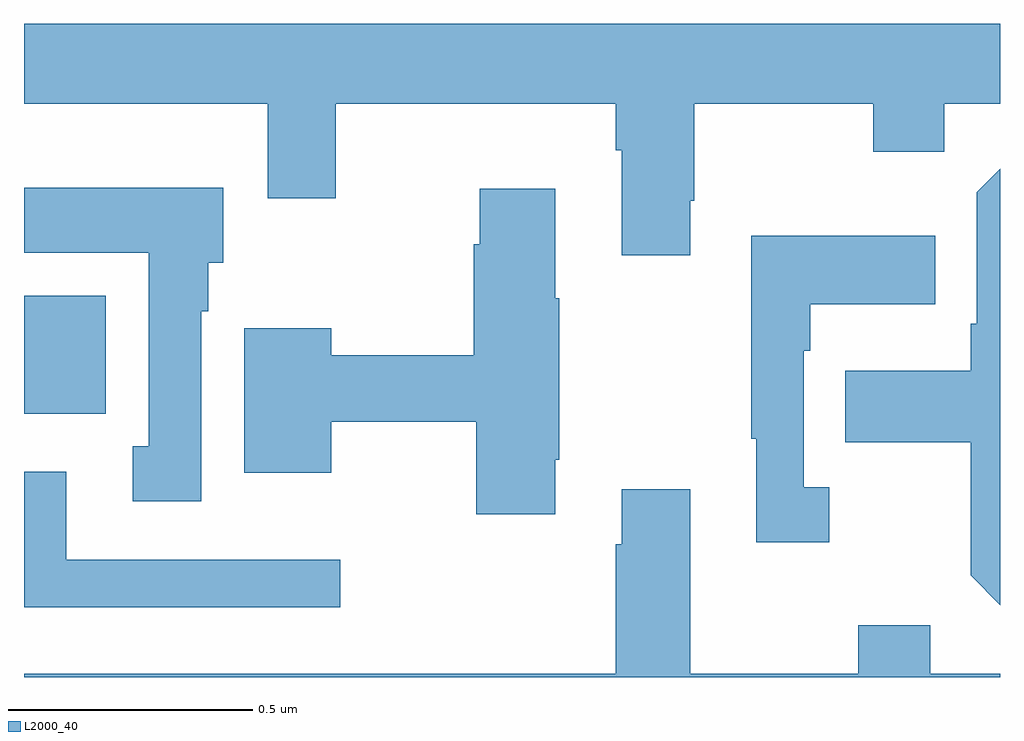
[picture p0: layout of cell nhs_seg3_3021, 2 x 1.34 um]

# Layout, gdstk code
import gdstk
lib = gdstk.Library(unit=1e-6, precision=1e-09)
def R(c, l, rs):  # rectangles x0, y0, x1, y1
    for r in rs: c.add(gdstk.rectangle(r[:2], r[2:], *l))
def P(c, l, *ps):  # polygons
    for p in ps: c.add(gdstk.Polygon(p, *l))
L2000_40 = (2000, 40)

nhs_seg3_3021 = lib.new_cell('nhs_seg3_3021')
R(nhs_seg3_3021, L2000_40, [(148,706.94,148.168,707.182)])
P(nhs_seg3_3021, L2000_40, [(149.365,707.377),(149.373,707.377),(149.373,707.576),(149.74,707.576),(149.74,707.477),(149.886,707.477),(149.886,707.576),(150,707.576),(150,707.74),(148,707.74),(148,707.576),(148.499,707.576),(148.499,707.382),(148.639,707.382),(148.639,707.576),(149.213,707.576),(149.213,707.48),(149.225,707.48),(149.225,707.265),(149.365,707.265)],
  [(150,707.442),(149.952,707.394),(149.952,707.125),(149.94,707.125),(149.94,707.029),(149.683,707.029),(149.683,706.882),(149.94,706.882),(149.94,706.609),(150,706.548)],
  [(148.363,707.15),(148.378,707.15),(148.378,707.25),(148.408,707.25),(148.408,707.404),(148,707.404),(148,707.27),(148.256,707.27),(148.256,706.874),(148.223,706.874),(148.223,706.761),(148.363,706.761)],
  [(149.089,706.846),(149.097,706.846),(149.097,707.177),(149.089,707.177),(149.089,707.401),(148.934,707.401),(148.934,707.288),(148.922,707.288),(148.922,707.06),(148.63,707.06),(148.63,707.116),(148.451,707.116),(148.451,706.82),(148.63,706.82),(148.63,706.924),(148.927,706.924),(148.927,706.734),(149.089,706.734)],
  [(149.65,706.79),(149.598,706.79),(149.598,707.069),(149.611,707.069),(149.611,707.165),(149.867,707.165),(149.867,707.305),(149.49,707.305),(149.49,706.889),(149.501,706.889),(149.501,706.677),(149.65,706.677)],
  [(148.648,706.641),(148.087,706.641),(148.087,706.822),(148,706.822),(148,706.544),(148.648,706.544)],
  [(150,706.408),(149.857,706.408),(149.857,706.507),(149.71,706.507),(149.71,706.408),(149.365,706.408),(149.365,706.786),(149.225,706.786),(149.225,706.673),(149.213,706.673),(149.213,706.408),(148,706.408),(148,706.4),(150,706.4)])

lib.write_gds('nhs_seg3_3021.gds')
